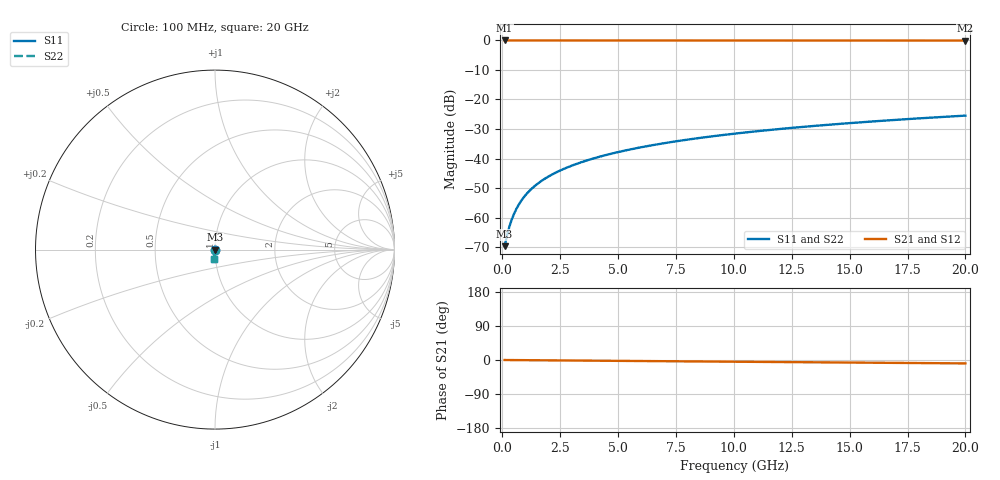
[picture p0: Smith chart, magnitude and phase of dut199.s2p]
! Touchstone file exported from HFSS 2026.1.0
!  File:  C:/ffzhzh/LocalFiles/Ansys_Project_Files/temp_train_TSV_199_1782991683_45328.aedt
!  Generated:  07:29:47 PM Jul  2, 2026
!  Design:  TSV
!  Project:  temp_train_TSV_199_1782991683_45328
! Variables:
!  h_bsmrdl = 2um
!  h_ox = 20um
!  h_rdl = 5um
!  h_sub = 92.17um
!  h_tmrdl = 5um
!  h_tsv = 92.17um
!  h_via = 3um
!  l_bsmrdl = 300um
!  l_sub = 414.14um
!  l_tmrdl = 200um
!  m_sub = 200um
!  pitch = 20.99um
!  r_tsv = 7.07um
!  s_tmrdl = 10um
!  w_bsmrdl = 18um
!  w_sub = 500um
!  w_tmrdl = 12um
!  x_tsv_center1 = 206um
!  x_tsv_center2 = 524um
!  x_tsv_center3 = 736um
!  x_tsv_center4 = 1054um
!  x_tsv_center5 = 1266um
!  x_tsv_center6 = 1584um
# GHz S MA R 50.000000
! Terminal data exported
! Port[1] = TSV1_1_T1
! Port[2] = TSV1_1_T2
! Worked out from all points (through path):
!   200 points, 100 MHz to 20 GHz, reference 50 ohm
!   highest |S21| = 0.00 dB at 100 MHz (marker M1); lowest = 0.0 dB at 20 GHz (marker M2)
!   group delay of S21, straight-line fit = 1.24 ps
!   lowest |S11| = -69.7 dB at 100 MHz (marker M3), VSWR 1.00, Z = 50 - j0.0195 ohm
!   |S11| at or under -10 dB: start of sweep to end of sweep
!   |S22| runs from -69.7 to -25.5 dB; largest |S21 - S12| = 5.5e-15
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0.1  0.0003278 -36.4  0.9997 -0.0  0.9997 -0.0  0.0003278 -36.4
! Gamma 0 0 0 0
! Port Impedance 50 0 50 0
0.2  0.000489 -54.0  0.9997 -0.1  0.9997 -0.1  0.000489 -54.0
0.3  0.0006876 -62.2  0.9997 -0.1  0.9997 -0.1  0.0006876 -62.2
0.4  0.0009068 -66.7  0.9996 -0.2  0.9996 -0.2  0.0009068 -66.7
0.5  0.00114 -69.7  0.9996 -0.2  0.9996 -0.2  0.00114 -69.7
0.6  0.001382 -71.8  0.9996 -0.3  0.9996 -0.3  0.001382 -71.8
0.8  0.001882 -74.9  0.9995 -0.4  0.9995 -0.4  0.001882 -74.9
1.1  0.00265 -78.0  0.9994 -0.5  0.9994 -0.5  0.00265 -78.0
1.3  0.003165 -79.5  0.9994 -0.6  0.9994 -0.6  0.003165 -79.5
1.5  0.003682 -80.6  0.9993 -0.7  0.9993 -0.7  0.003682 -80.6
1.8  0.004457 -82.0  0.9993 -0.8  0.9993 -0.8  0.004457 -82.0
2.1  0.005234 -83.0  0.9993 -1.0  0.9993 -1.0  0.005234 -83.0
2.7  0.006793 -84.4  0.9992 -1.2  0.9992 -1.2  0.006793 -84.4
3.5  0.008887 -85.7  0.999 -1.6  0.999 -1.6  0.008887 -85.7
4.2  0.01073 -86.6  0.9989 -1.9  0.9989 -1.9  0.01073 -86.6
5  0.01286 -87.4  0.9988 -2.3  0.9988 -2.3  0.01286 -87.4
6.8  0.01768 -88.9  0.9985 -3.1  0.9985 -3.1  0.01768 -88.9
8.3  0.02172 -89.9  0.9983 -3.8  0.9983 -3.8  0.02172 -89.9
10.1  0.02658 -91.1  0.9981 -4.6  0.9981 -4.6  0.02658 -91.1
13.4  0.03549 -93.1  0.9975 -6.0  0.9975 -6.0  0.03549 -93.1
16.7  0.0444 -94.9  0.997 -7.5  0.997 -7.5  0.0444 -94.9
20  0.05331 -96.5  0.9963 -9.0  0.9963 -9.0  0.05331 -96.5
